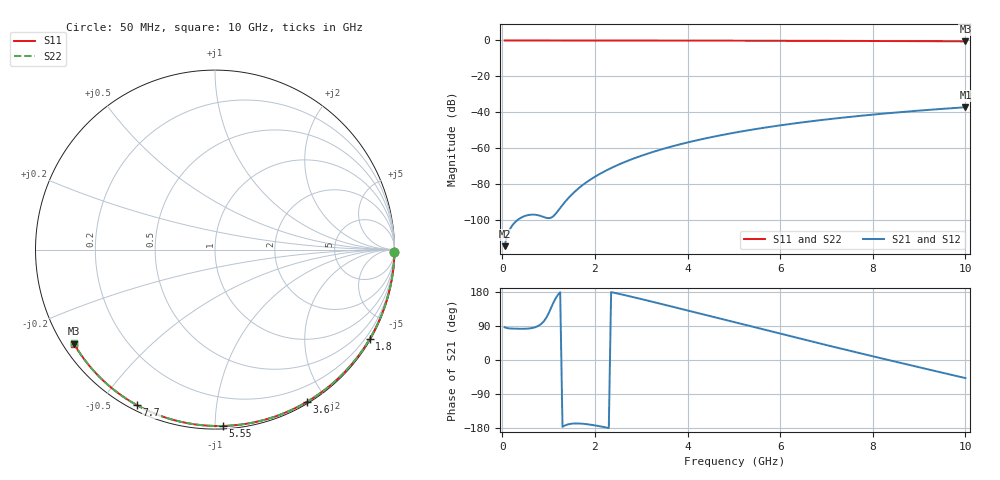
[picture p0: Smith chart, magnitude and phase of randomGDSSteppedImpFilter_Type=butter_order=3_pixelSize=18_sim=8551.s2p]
! freq	dB(S11)	phase(S11)	dB(S12)	phase(S12)
!  dB(S21)	phase(S21)	dB(S22)	phase(S22)
!S-par simulation data
#  GHz  S  DB  R 50
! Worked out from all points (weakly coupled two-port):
!   200 points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, 50 MHz to 10 GHz, reference 50 ohm
!   highest |S21| = -37.29 dB at 10 GHz (marker M1); lowest = -114.8 dB at 50 MHz (marker M2)
!   lowest |S11| = -0.5 dB at 10 GHz (marker M3), VSWR 35.16, Z = 1.55 - j15.1 ohm
!   |S11| at or under -10 dB: nowhere
!   |S22| runs from -0.5 to 0.0 dB; largest |S21 - S12| = 0
!   S11 on the Smith chart (normalised r, x): 50 MHz: open; 1.8 GHz: 0.03, -3.71; 3.6 GHz: 0.02, -1.77; 5.55 GHz: 0.02, -1.04; 7.7 GHz: 0.02, -0.62; 10 GHz: 0.03, -0.30
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0.05  -0.00 -0.9  -114.83 86.3  -114.83 86.3  -0.00 -0.9
0.45  -0.01 -7.7  -98.36 82.3  -98.36 82.3  -0.01 -7.7
0.9  -0.02 -15.2  -98.59 102.7  -98.59 102.7  -0.02 -15.2
1.3  -0.03 -21.9  -91.85 -176.3  -91.85 -176.3  -0.03 -21.9
1.75  -0.04 -29.3  -80.43 -168.4  -80.43 -168.4  -0.04 -29.3
1.8  -0.04 -30.2  -79.48 -169.0  -79.48 -169.0  -0.04 -30.2
1.95  -0.04 -32.6  -76.87 -171.5  -76.87 -171.5  -0.04 -32.6
2.1  -0.04 -35.1  -74.58 -174.7  -74.58 -174.7  -0.04 -35.1
2.3  -0.05 -38.3  -71.85 -179.5  -71.85 -179.5  -0.05 -38.3
2.5  -0.05 -41.5  -69.43 175.2  -69.43 175.2  -0.05 -41.5
2.9  -0.06 -47.9  -65.30 163.8  -65.30 163.8  -0.06 -47.9
3.4  -0.07 -55.7  -61.07 148.9  -61.07 148.9  -0.07 -55.7
3.6  -0.08 -58.8  -59.59 142.9  -59.59 142.9  -0.08 -58.8
4.3  -0.10 -69.4  -55.15 121.4  -55.15 121.4  -0.10 -69.4
5.05  -0.12 -80.4  -51.31 98.4  -51.31 98.4  -0.12 -80.4
5.55  -0.14 -87.5  -49.13 83.1  -49.13 83.1  -0.14 -87.5
6.1  -0.17 -95.2  -47.03 66.4  -47.03 66.4  -0.17 -95.2
6.7  -0.20 -103.4  -45.01 48.3  -45.01 48.3  -0.20 -103.4
7.7  -0.27 -116.7  -42.15 18.6  -42.15 18.6  -0.27 -116.7
8.35  -0.32 -125.1  -40.56 -0.4  -40.56 -0.4  -0.32 -125.1
9.2  -0.40 -136.1  -38.76 -24.9  -38.76 -24.9  -0.40 -136.1
10  -0.49 -146.4  -37.29 -47.7  -37.29 -47.7  -0.49 -146.4
